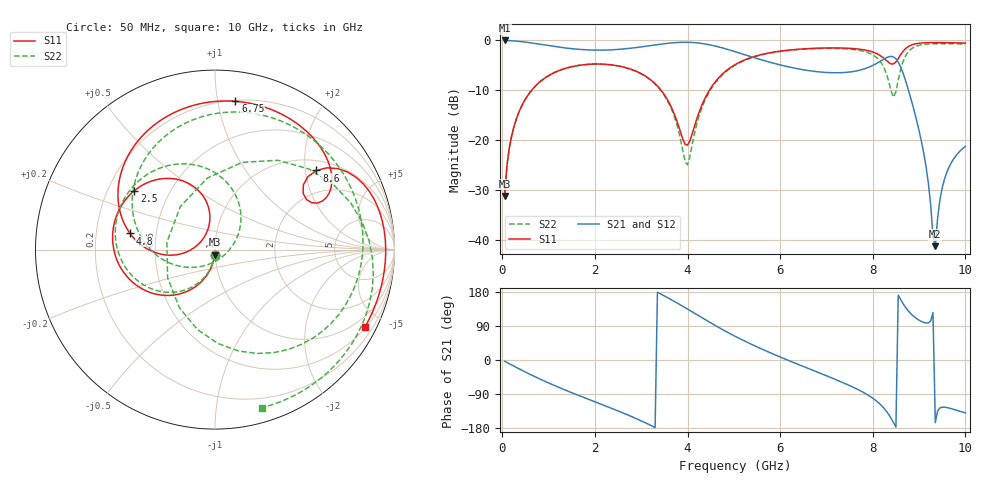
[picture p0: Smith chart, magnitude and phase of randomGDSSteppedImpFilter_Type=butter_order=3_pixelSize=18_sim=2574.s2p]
! freq	dB(S11)	phase(S11)	dB(S12)	phase(S12)
!  dB(S21)	phase(S21)	dB(S22)	phase(S22)
!S-par simulation data
#  GHz  S  DB  R 50
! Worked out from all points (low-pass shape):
!   200 points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, 50 MHz to 10 GHz, reference 50 ohm
!   highest |S21| = -0.01 dB at 50 MHz (marker M1); lowest = -41.1 dB at 9.35 GHz (marker M2)
!   |S21| within 3 dB of the highest: start of sweep to 5.287 GHz
!   lowest |S11| = -31.1 dB at 50 MHz (marker M3), VSWR 1.06, Z = 49.8 - j2.78 ohm
!   |S11| at or under -10 dB: start of sweep to 631.6 MHz; 3.431 GHz to 4.471 GHz (1.04 GHz wide, 26.3 % of centre)
!   |S22| runs from -31.1 to -0.6 dB; largest |S21 - S12| = 0
!   S11 on the Smith chart (normalised r, x): 50 MHz: 1.00, -0.06; 2.5 GHz: 0.31, +0.30; 4.8 GHz: 0.35, +0.08; 6.75 GHz: 0.21, +1.13; 8.6 GHz: 1.27, +2.30; 10 GHz: 0.55, -4.07
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0.05  -31.08 -93.2  -0.01 -3.3  -0.01 -3.3  -31.08 -93.5
0.2  -19.18 -102.9  -0.07 -13.0  -0.07 -13.0  -19.19 -104.0
0.5  -11.73 -121.1  -0.35 -31.8  -0.35 -31.8  -11.73 -123.6
1.75  -4.87 176.1  -1.85 -98.4  -1.85 -98.4  -4.88 166.2
2.5  -5.09 143.7  -1.80 -134.4  -1.80 -134.4  -5.11 127.2
3.4  -9.64 104.6  -0.77 175.6  -0.77 175.6  -9.75 69.5
4  -20.94 148.5  -0.37 134.4  -0.37 134.4  -24.88 -62.4
4.35  -12.09 -172.8  -0.67 108.8  -0.67 108.8  -12.56 -158.3
4.8  -6.34 169.2  -1.63 77.2  -1.63 77.2  -6.48 160.7
5.05  -4.72 156.7  -2.32 61.1  -2.32 61.1  -4.83 142.0
5.85  -2.36 119.3  -4.55 15.7  -4.55 15.7  -2.42 90.4
6.7  -1.60 84.2  -6.15 -26.9  -6.15 -26.9  -1.67 41.6
6.75  -1.58 82.2  -6.20 -29.3  -6.20 -29.3  -1.65 38.8
7.7  -1.74 44.1  -6.00 -79.3  -6.00 -79.3  -1.98 -20.0
8.15  -2.97 26.4  -4.24 -115.6  -4.24 -115.6  -4.08 -67.9
8.35  -4.45 25.8  -3.25 -144.9  -3.25 -144.9  -8.40 -121.5
8.6  -2.89 38.0  -5.27 160.0  -5.27 160.0  -5.86 72.7
8.85  -0.87 23.7  -12.55 118.9  -12.55 118.9  -1.57 10.6
9.15  -0.46 7.3  -25.21 97.7  -25.21 97.7  -0.76 -23.1
9.35  -0.43 -1.7  -41.14 -165.4  -41.14 -165.4  -0.66 -38.0
9.55  -0.45 -10.0  -27.67 -124.6  -27.67 -124.6  -0.65 -50.2
10  -0.53 -27.2  -21.17 -139.9  -21.17 -139.9  -0.74 -73.5
